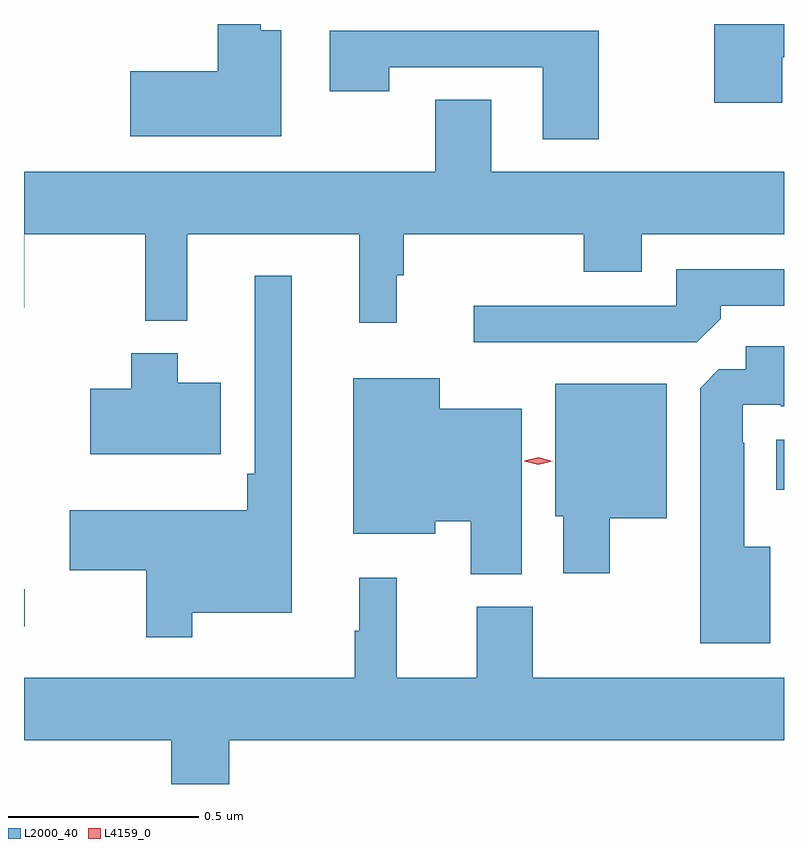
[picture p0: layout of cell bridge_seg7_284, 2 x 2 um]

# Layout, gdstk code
import gdstk
lib = gdstk.Library(unit=1e-6, precision=1e-09)
def R(c, l, rs):  # rectangles x0, y0, x1, y1
    for r in rs: c.add(gdstk.rectangle(r[:2], r[2:], *l))
def P(c, l, *ps):  # polygons
    for p in ps: c.add(gdstk.Polygon(p, *l))
L2000_40 = (2000, 40)
L4159_0 = (4159, 0)

bridge_seg7_284 = lib.new_cell('bridge_seg7_284')
R(bridge_seg7_284, L2000_40, [(124.67,1076.84,124.672,1076.937), (126.65,1077.2,126.67,1077.331)])
P(bridge_seg7_284, L2000_40, [(126.665,1078.338),(126.67,1078.338),(126.67,1078.425),(126.487,1078.425),(126.487,1078.218),(126.665,1078.218)],
  [(125.347,1078.408),(125.293,1078.408),(125.293,1078.425),(125.18,1078.425),(125.18,1078.301),(124.95,1078.301),(124.95,1078.13),(125.347,1078.13)],
  [(126.183,1078.407),(125.475,1078.407),(125.475,1078.248),(125.631,1078.248),(125.631,1078.311),(126.035,1078.311),(126.035,1078.122),(126.183,1078.122)],
  [(125.651,1077.764),(125.669,1077.764),(125.669,1077.872),(126.143,1077.872),(126.143,1077.773),(126.295,1077.773),(126.295,1077.872),(126.67,1077.872),(126.67,1078.036),(125.899,1078.036),(125.899,1078.226),(125.752,1078.226),(125.752,1078.036),(124.67,1078.036),(124.67,1077.678),(124.671,1077.678),(124.671,1077.872),(124.989,1077.872),(124.989,1077.644),(125.099,1077.644),(125.099,1077.872),(125.552,1077.872),(125.552,1077.639),(125.651,1077.639)],
  [(126.503,1077.65),(126.503,1077.684),(126.67,1077.684),(126.67,1077.78),(126.387,1077.78),(126.387,1077.684),(125.853,1077.684),(125.853,1077.588),(126.441,1077.588)],
  [(125.113,1076.876),(125.374,1076.876),(125.374,1077.763),(125.277,1077.763),(125.277,1077.241),(125.257,1077.241),(125.257,1077.145),(124.791,1077.145),(124.791,1076.987),(124.992,1076.987),(124.992,1076.811),(125.113,1076.811)],
  [(126.634,1077.049),(126.565,1077.049),(126.565,1077.323),(126.561,1077.323),(126.561,1077.423),(126.661,1077.423),(126.661,1077.419),(126.67,1077.419),(126.67,1077.577),(126.569,1077.577),(126.569,1077.516),(126.498,1077.516),(126.449,1077.467),(126.449,1076.795),(126.634,1076.795)],
  [(125.188,1077.481),(125.074,1077.481),(125.074,1077.559),(124.952,1077.559),(124.952,1077.465),(124.844,1077.465),(124.844,1077.293),(125.188,1077.293)],
  [(125.98,1077.412),(125.764,1077.412),(125.764,1077.493),(125.537,1077.493),(125.537,1077.083),(125.752,1077.083),(125.752,1077.116),(125.846,1077.116),(125.846,1076.977),(125.98,1076.977)],
  [(126.211,1077.125),(126.361,1077.125),(126.361,1077.478),(126.068,1077.478),(126.068,1077.129),(126.089,1077.129),(126.089,1076.979),(126.211,1076.979)],
  [(125.21,1076.54),(126.67,1076.54),(126.67,1076.704),(126.009,1076.704),(126.009,1076.892),(125.861,1076.892),(125.861,1076.704),(125.651,1076.704),(125.651,1076.968),(125.552,1076.968),(125.552,1076.828),(125.541,1076.828),(125.541,1076.704),(124.67,1076.704),(124.67,1076.54),(125.058,1076.54),(125.058,1076.425),(125.21,1076.425)])
P(bridge_seg7_284, L4159_0, [(126.023,1077.265),(125.987,1077.275),(125.986,1077.275),(125.987,1077.276),(126.024,1077.285),(126.06,1077.275),(126.061,1077.275),(126.06,1077.275)])

lib.write_gds('bridge_seg7_284.gds')
